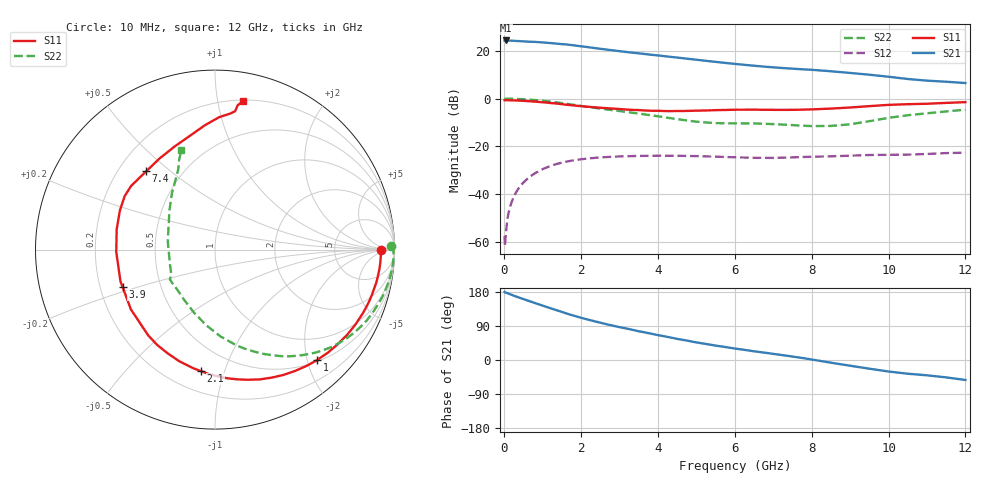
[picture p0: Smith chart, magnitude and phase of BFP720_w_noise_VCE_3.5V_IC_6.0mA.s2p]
! Infineon Technologies  Discrete & RF Semiconductors
! BFP720
! VCE =  3.5 V,  IC =  6.0 mA
! Common Emitter S-Parameters:  Aug 2012
# GHz  S  MA  R  50
!  f  S11  S21  S12  S22
! GHz  MAG  ANG  MAG  ANG  MAG  ANG  MAG  ANG
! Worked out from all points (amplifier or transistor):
!   105 points, 10 MHz to 12 GHz, reference 50 ohm
!   highest |S21| = 24.4 dB at 50 MHz (marker M1)
!   |S21| within 3 dB of that: start of sweep to 2.263 GHz
!   unconditionally stable (mu >= 1): start of sweep to 10.46 MHz; 6.288 GHz to 11.37 GHz
!   at 300 MHz: K = 0.07, MSG = 31.9 dB, |S12| = -39.6 dB
!   at 3.6 GHz: K = 0.54, MSG = 21.4 dB, |S12| = -24.0 dB
!   at 12 GHz: K = 0.80, MSG = 14.6 dB, |S12| = -22.7 dB
!   lowest NFmin = 0.43 dB at 450 MHz
!   S11 on the Smith chart (normalised r, x): 10 MHz: 25, -1; 1 GHz: 0.53, -2.18; 2.1 GHz: 0.33, -0.83; 3.9 GHz: 0.30, -0.18; 7.4 GHz: 0.32, +0.41; 12 GHz: 0.21, +1.19
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0.01  0.9237 -0.1  16.52 179.7  0.0013 -10.5  0.9821 1.1
0.02  0.925 -0.9  16.44 178.4  0.0008 81.5  0.9948 -0.5
0.05  0.9241 -2.4  16.61 177.3  0.0017 80.1  0.9945 -1.5
0.2  0.9196 -9.3  16.38 171.7  0.007 82.9  0.9918 -6.3
0.45  0.9013 -21.0  15.96 162.4  0.0157 76.4  0.9738 -14.2
0.8  0.8631 -37.7  15.51 150.3  0.0271 67.0  0.9333 -25.0
1  0.8381 -47.2  15.09 143.5  0.0331 61.5  0.9016 -31.1
1.3  0.7951 -61.5  14.41 133.4  0.0409 53.5  0.8458 -39.9
1.6  0.7477 -75.9  13.76 123.4  0.0472 46.1  0.7835 -47.9
2.1  0.6812 -96.7  12.23 108.8  0.0544 35.2  0.684 -59.8
2.6  0.6349 -114.7  10.85 95.9  0.0589 26.6  0.602 -69.8
3  0.6057 -127.9  9.906 86.7  0.0612 20.9  0.5481 -77.2
3.5  0.575 -144.6  8.921 75.8  0.0628 14.6  0.4853 -86.3
3.9  0.5554 -158.1  8.204 67.8  0.0632 10.5  0.4369 -94.0
4.1  0.5505 -164.9  7.88 63.8  0.0633 8.5  0.4139 -98.4
5  0.5594 168.4  6.546 46.4  0.0621 0.9  0.3285 -121.5
6.1  0.5846 148.1  5.257 28.9  0.0584 -3.7  0.3019 -143.0
7.4  0.5806 131.3  4.301 10.6  0.0581 -3.0  0.2806 -150.8
8.5  0.6172 111.3  3.746 -7.1  0.0614 -5.0  0.2669 170.3
9.5  0.6949 94.7  3.173 -22.9  0.0655 -7.7  0.3355 139.1
10.5  0.7633 83.5  2.58 -36.2  0.0668 -10.9  0.4476 119.4
12  0.8428 79.3  2.121 -52.7  0.0734 -16.5  0.5848 108.7
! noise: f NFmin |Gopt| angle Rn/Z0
0.45  0.43  0.44  3  0.13
1.8  0.51  0.42  24  0.13
2.4  0.55  0.3  55  0.23
5.5  0.69  0.2  58  0.14
10  0.95  0.39  -89  0.21
